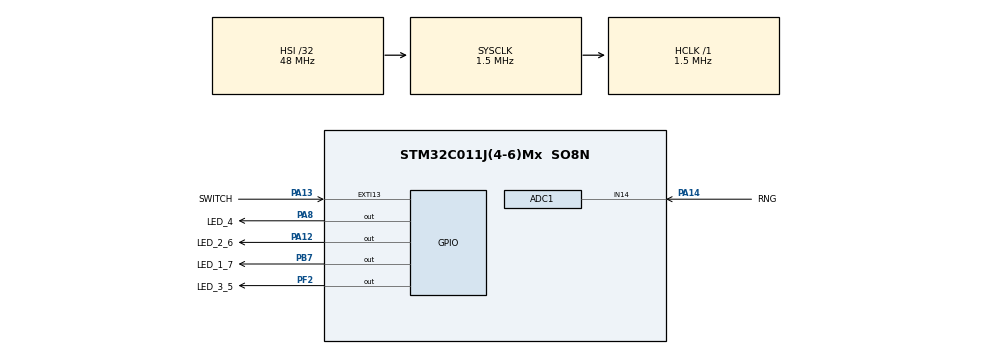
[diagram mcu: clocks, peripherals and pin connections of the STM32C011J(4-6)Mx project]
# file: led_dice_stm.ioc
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ADC1.Channel-2\#ChannelRegularConversion=ADC_CHANNEL_14
ADC1.ContinuousConvMode=ENABLE
ADC1.NbrOfConversionFlag=1
ADC1.Rank-2\#ChannelRegularConversion=1
ADC1.SamplingTime-2\#ChannelRegularConversion=ADC_SAMPLINGTIME_COMMON_1
ADC1.SelectedChannel=ADC_CHANNEL_14
ADC1.master=1
Mcu.Family=STM32C0
Mcu.Name=STM32C011J(4-6)Mx
Mcu.Package=SO8N
NVIC.EXTI4_15_IRQn=true\:0\:0\:false\:false\:true\:true\:true\:true
PA12\ [PA10].GPIO_Label=LED_2_6
PA12\ [PA10].Signal=GPIO_Output
PA13.GPIO_Label=SWITCH
PA13.GPIO_PuPd=GPIO_PULLDOWN
PA13.Signal=GPXTI13
PA14-BOOT0.GPIO_Label=RNG
PA14-BOOT0.Mode=IN14
PA14-BOOT0.Signal=ADC1_IN14
PA8.GPIO_Label=LED_4
PA8.Signal=GPIO_Output
PA8__PA11\ [PA9].StandardMode=true
PB7.GPIO_Label=LED_1_7
PB7.Signal=GPIO_Output
PC14-OSCX_IN\ (PC14)__PB7.StandardMode=true
PC15-OSCX_OUT\ (PC15)__PA14-BOOT0__PB6.StandardMode=true
PF2-NRST.GPIO_Label=LED_3_5
PF2-NRST.Signal=GPIO_Output
PF2-NRST__PA0__PA1__PA2.StandardMode=true
ProjectManager.HeapSize=0x200
ProjectManager.StackSize=0x400
ProjectManager.TargetToolchain=STM32CubeIDE
RCC.ADCFreq_Value=1500000
RCC.AHBFreq_Value=1500000
RCC.CortexFreq_Value=1500000
RCC.EXTERNAL_CLOCK_VALUE=12288000
RCC.HCLKFreq_Value=1500000
RCC.HSE_VALUE=8000000
RCC.HSISYSCLKDivider=RCC_HSI_DIV32
RCC.HSI_VALUE=48000000
RCC.LSE_VALUE=32768
RCC.SYSCLKFreq_VALUE=1500000
board=custom

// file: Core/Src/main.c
/* USER CODE BEGIN Header */
/**
 **************************************************
 *
 * @file        main.c
 * @brief       STM32 code for LED Dice Soldering Kit from Soldered.
 *
 * @note        In order to successfully run this code, make sure to use STM32 cube programmer
 * 				And set Option Bytes -> User Configuration -> NRST_MODE 2
 *
 * @authors     Robert Soric for soldered.com
 ***************************************************/

/* USER CODE END Header */
#include "main.h"

/* USER CODE BEGIN Includes */
#include "dice.h"
/* USER CODE END Includes */

ADC_HandleTypeDef hadc1;

/* USER CODE BEGIN PV */

volatile uint8_t flag = 0;
/* USER CODE END PV */

void SystemClock_Config(void);
static void MX_GPIO_Init(void);
static void MX_ADC1_Init(void);
/* USER CODE BEGIN PFP */
void setNumber(uint8_t _n);
/* USER CODE END PFP */

int main(void) {

	/* MCU Configuration--------------------------------------------------------*/

	/* Reset of all peripherals, Initializes the Flash interface and the Systick. */
	HAL_Init();

	/* Configure the system clock */
	SystemClock_Config();

	/* USER CODE BEGIN SysInit */
	// COMMENT THIS DELAY IN THE FINAL CODE (for debug purpose only)
	//HAL_Delay(8000);
	/* USER CODE END SysInit */

	/* Initialize all configured peripherals */
	MX_GPIO_Init();
	MX_ADC1_Init();
	/* USER CODE BEGIN 2 */
	// Start measuring with ADC to get random values
	HAL_ADC_Start(&hadc1);

	// Show random value on startup

	HAL_Delay(1);
	uint8_t randomDiceRolledValue = getNewRandomValue(&hadc1);
	showNumber(randomDiceRolledValue);

	// Remember it
	uint8_t lastRandomDiceRolledValue = randomDiceRolledValue;
	/* USER CODE END 2 */

	/* Infinite loop */
	/* USER CODE BEGIN WHILE */

	// Main loop
	while (1) {

		if (flag) {
			uint8_t rollCounter = 0;
			int i = 0;

			// Add a random value of rolls
			do {
				rollCounter += getNewRandomValue(&hadc1);
				i++;
			} while (i < getNewRandomValue(&hadc1) && i < 3);

			while (rollCounter) {
				if (flag) {
					flag = 0;

					// If still rolling, add new rolls but no more than 50
					rollCounter += getNewRandomValue(&hadc1);
					if (rollCounter > 50)
						rollCounter = 50;
				}

				// Make sure the number that is being displayed is not the same as the last one
				// To simulate real dice
				do {
					randomDiceRolledValue = getNewRandomValue(&hadc1);
				} while (randomDiceRolledValue == lastRandomDiceRolledValue);

				// Number is good, show the roll and remember it
				showNumber(randomDiceRolledValue);
				lastRandomDiceRolledValue = randomDiceRolledValue;
				rollCounter--;

				// Wait the expected length of time
				HAL_Delay(55);
			}
		}
		/* USER CODE END WHILE */

	}
}

void SystemClock_Config(void) {
	RCC_OscInitTypeDef RCC_OscInitStruct = { 0 };
	RCC_ClkInitTypeDef RCC_ClkInitStruct = { 0 };

	/** Initializes the RCC Oscillators according to the specified parameters
	 * in the RCC_OscInitTypeDef structure.
	 */
	RCC_OscInitStruct.OscillatorType = RCC_OSCILLATORTYPE_HSI;
	RCC_OscInitStruct.HSIState = RCC_HSI_ON;
	RCC_OscInitStruct.HSIDiv = RCC_HSI_DIV32;
	RCC_OscInitStruct.HSICalibrationValue = RCC_HSICALIBRATION_DEFAULT;
	if (HAL_RCC_OscConfig(&RCC_OscInitStruct) != HAL_OK) {
		Error_Handler();
	}

	/** Initializes the CPU, AHB and APB buses clocks
	 */
	RCC_ClkInitStruct.ClockType = RCC_CLOCKTYPE_HCLK | RCC_CLOCKTYPE_SYSCLK
			| RCC_CLOCKTYPE_PCLK1;
	RCC_ClkInitStruct.SYSCLKSource = RCC_SYSCLKSOURCE_HSI;
	RCC_ClkInitStruct.SYSCLKDivider = RCC_SYSCLK_DIV1;
	RCC_ClkInitStruct.AHBCLKDivider = RCC_HCLK_DIV1;
	RCC_ClkInitStruct.APB1CLKDivider = RCC_APB1_DIV1;

	if (HAL_RCC_ClockConfig(&RCC_ClkInitStruct, FLASH_LATENCY_0) != HAL_OK) {
		Error_Handler();
	}
}

static void MX_ADC1_Init(void) {

	ADC_ChannelConfTypeDef sConfig = { 0 };

	/* USER CODE BEGIN ADC1_Init 1 */
	GPIO_InitTypeDef gpioInit;
	__GPIOA_CLK_ENABLE()
	;
	gpioInit.Pin = RNG_Pin;
	gpioInit.Mode = GPIO_MODE_ANALOG;
	gpioInit.Pull = GPIO_NOPULL;
	HAL_GPIO_Init(RNG_GPIO_Port, &gpioInit);
	/* USER CODE END ADC1_Init 1 */

	/** Configure the global features of the ADC (Clock, Resolution, Data Alignment and number of conversion)
	 */
	hadc1.Instance = ADC1;
	hadc1.Init.ClockPrescaler = ADC_CLOCK_ASYNC_DIV1;
	hadc1.Init.Resolution = ADC_RESOLUTION_12B;
	hadc1.Init.DataAlign = ADC_DATAALIGN_RIGHT;
	hadc1.Init.ScanConvMode = ADC_SCAN_DISABLE;
	hadc1.Init.EOCSelection = ADC_EOC_SINGLE_CONV;
	hadc1.Init.LowPowerAutoWait = DISABLE;
	hadc1.Init.LowPowerAutoPowerOff = DISABLE;
	hadc1.Init.ContinuousConvMode = ENABLE;
	hadc1.Init.NbrOfConversion = 1;
	hadc1.Init.ExternalTrigConv = ADC_SOFTWARE_START;
	hadc1.Init.ExternalTrigConvEdge = ADC_EXTERNALTRIGCONVEDGE_NONE;
	hadc1.Init.DMAContinuousRequests = DISABLE;
	hadc1.Init.Overrun = ADC_OVR_DATA_PRESERVED;
	hadc1.Init.SamplingTimeCommon1 = ADC_SAMPLETIME_1CYCLE_5;
	hadc1.Init.SamplingTimeCommon2 = ADC_SAMPLETIME_1CYCLE_5;
	hadc1.Init.OversamplingMode = DISABLE;
	hadc1.Init.TriggerFrequencyMode = ADC_TRIGGER_FREQ_HIGH;
	if (HAL_ADC_Init(&hadc1) != HAL_OK) {
		Error_Handler();
	}

	/** Configure Regular Channel
	 */
	sConfig.Channel = ADC_CHANNEL_14;
	sConfig.Rank = ADC_REGULAR_RANK_1;
	sConfig.SamplingTime = ADC_SAMPLINGTIME_COMMON_1;
	if (HAL_ADC_ConfigChannel(&hadc1, &sConfig) != HAL_OK) {
		Error_Handler();
	}

}

static void MX_GPIO_Init(void) {
	GPIO_InitTypeDef GPIO_InitStruct = { 0 };

	/* GPIO Ports Clock Enable */
	__HAL_RCC_GPIOB_CLK_ENABLE();
	__HAL_RCC_GPIOF_CLK_ENABLE();
	__HAL_RCC_GPIOA_CLK_ENABLE();

	/*Configure GPIO pin Output Level */
	HAL_GPIO_WritePin(LED_1_7_GPIO_Port, LED_1_7_Pin, GPIO_PIN_RESET);

	/*Configure GPIO pin Output Level */
	HAL_GPIO_WritePin(LED_3_5_GPIO_Port, LED_3_5_Pin, GPIO_PIN_RESET);

	/*Configure GPIO pin Output Level */
	HAL_GPIO_WritePin(GPIOA, LED_4_Pin | LED_2_6_Pin, GPIO_PIN_RESET);

	/*Configure GPIO pin : LED_1_7_Pin */
	GPIO_InitStruct.Pin = LED_1_7_Pin;
	GPIO_InitStruct.Mode = GPIO_MODE_OUTPUT_PP;
	GPIO_InitStruct.Pull = GPIO_NOPULL;
	GPIO_InitStruct.Speed = GPIO_SPEED_FREQ_LOW;
	HAL_GPIO_Init(LED_1_7_GPIO_Port, &GPIO_InitStruct);

	/*Configure GPIO pin : LED_3_5_Pin */
	GPIO_InitStruct.Pin = LED_3_5_Pin;
	GPIO_InitStruct.Mode = GPIO_MODE_OUTPUT_PP;
	GPIO_InitStruct.Pull = GPIO_NOPULL;
	GPIO_InitStruct.Speed = GPIO_SPEED_FREQ_LOW;
	HAL_GPIO_Init(LED_3_5_GPIO_Port, &GPIO_InitStruct);

	/*Configure GPIO pins : LED_4_Pin LED_2_6_Pin */
	GPIO_InitStruct.Pin = LED_4_Pin | LED_2_6_Pin;
	GPIO_InitStruct.Mode = GPIO_MODE_OUTPUT_PP;
	GPIO_InitStruct.Pull = GPIO_NOPULL;
	GPIO_InitStruct.Speed = GPIO_SPEED_FREQ_LOW;
	HAL_GPIO_Init(GPIOA, &GPIO_InitStruct);

	/*Configure GPIO pin : SWITCH_Pin */
	GPIO_InitStruct.Pin = SWITCH_Pin;
	GPIO_InitStruct.Mode = GPIO_MODE_IT_RISING;
	GPIO_InitStruct.Pull = GPIO_PULLDOWN;
	HAL_GPIO_Init(SWITCH_GPIO_Port, &GPIO_InitStruct);

	/**/
	HAL_SYSCFG_SetPinBinding(
	HAL_BIND_SO8_PIN1_PB7 | HAL_BIND_SO8_PIN4_PF2 | HAL_BIND_SO8_PIN5_PA8);

	/* EXTI interrupt init*/
	HAL_NVIC_SetPriority(EXTI4_15_IRQn, 0, 0);
	HAL_NVIC_EnableIRQ(EXTI4_15_IRQn);

}

/* USER CODE BEGIN 4 */

void HAL_GPIO_EXTI_Rising_Callback(uint16_t GPIO_Pin) {
	flag = 1;
}

/* USER CODE END 4 */

void Error_Handler(void) {
	__disable_irq();
	while (1) {
	}
}
